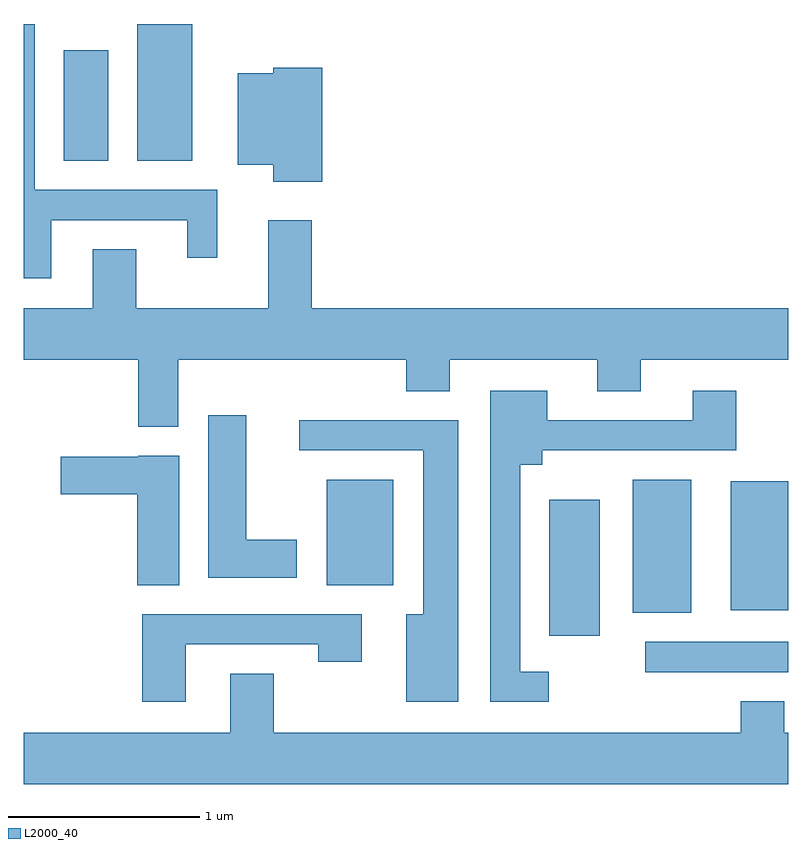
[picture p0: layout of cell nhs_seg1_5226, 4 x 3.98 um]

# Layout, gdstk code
import gdstk
lib = gdstk.Library(unit=1e-6, precision=1e-09)
def R(c, l, rs):  # rectangles x0, y0, x1, y1
    for r in rs: c.add(gdstk.rectangle(r[:2], r[2:], *l))
def P(c, l, *ps):  # polygons
    for p in ps: c.add(gdstk.Polygon(p, *l))
L2000_40 = (2000, 40)

nhs_seg1_5226 = lib.new_cell('nhs_seg1_5226')
R(nhs_seg1_5226, L2000_40, [(344.863,962.321,345.611,962.479), (344.361,962.511,344.624,963.224), (344.796,962.631,345.104,963.329), (345.311,962.646,345.611,963.319), (343.196,962.776,343.544,963.329), (341.821,964.996,342.054,965.574), (342.206,964.996,342.494,965.712)])
P(nhs_seg1_5226, L2000_40, [(341.754,964.686),(342.466,964.686),(342.466,964.488),(342.624,964.488),(342.624,964.844),(341.669,964.844),(341.669,965.712),(341.611,965.712),(341.611,964.381),(341.754,964.381)],
  [(343.174,965.484),(342.916,965.484),(342.916,965.454),(342.731,965.454),(342.731,964.976),(342.916,964.976),(342.916,964.886),(343.174,964.886)],
  [(342.419,963.956),(343.611,963.956),(343.611,963.791),(343.839,963.791),(343.839,963.956),(344.611,963.956),(344.611,963.791),(344.839,963.791),(344.839,963.956),(345.611,963.956),(345.611,964.224),(343.119,964.224),(343.119,964.684),(342.891,964.684),(342.891,964.224),(342.199,964.224),(342.199,964.534),(341.971,964.534),(341.971,964.224),(341.611,964.224),(341.611,963.956),(342.211,963.956),(342.211,963.606),(342.419,963.606)],
  [(344.358,962.324),(344.209,962.324),(344.209,963.406),(344.324,963.406),(344.324,963.481),(345.339,963.481),(345.339,963.794),(345.111,963.794),(345.111,963.639),(344.349,963.639),(344.349,963.794),(344.051,963.794),(344.051,962.166),(344.358,962.166)],
  [(343.039,963.014),(342.774,963.014),(342.774,963.664),(342.576,963.664),(342.576,962.816),(343.039,962.816)],
  [(343.884,963.639),(343.053,963.639),(343.053,963.481),(343.701,963.481),(343.701,962.624),(343.611,962.624),(343.611,962.166),(343.884,962.166)],
  [(342.424,963.454),(342.21,963.454),(342.21,963.449),(341.806,963.449),(341.806,963.251),(342.206,963.251),(342.206,962.776),(342.424,962.776)],
  [(342.459,962.466),(343.151,962.466),(343.151,962.376),(343.379,962.376),(343.379,962.624),(342.231,962.624),(342.231,962.166),(342.459,962.166)],
  [(345.361,962.169),(345.361,962.004),(342.919,962.004),(342.919,962.314),(342.691,962.314),(342.691,962.004),(341.611,962.004),(341.611,961.736),(345.611,961.736),(345.611,962.004),(345.589,962.004),(345.589,962.169)])

lib.write_gds('nhs_seg1_5226.gds')
